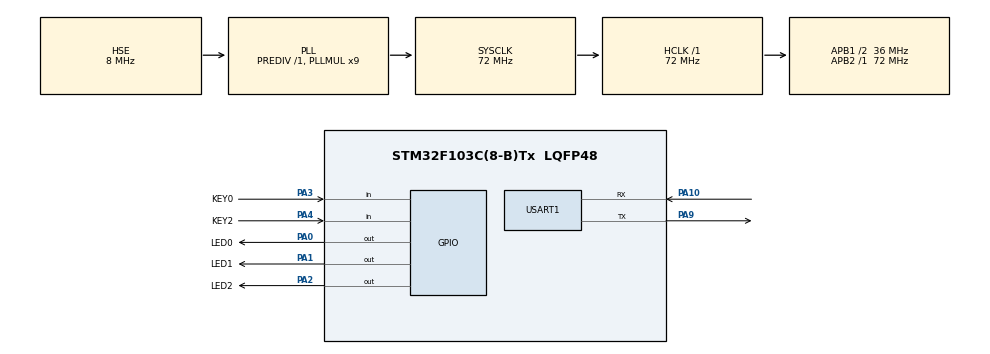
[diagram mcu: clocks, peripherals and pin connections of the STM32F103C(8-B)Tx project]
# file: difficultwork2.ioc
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Mcu.Family=STM32F1
Mcu.Name=STM32F103C(8-B)Tx
Mcu.Package=LQFP48
NVIC.PriorityGroup=NVIC_PRIORITYGROUP_4
NVIC.USART1_IRQn=true\:0\:0\:false\:false\:true\:true\:true\:true
PA0-WKUP.GPIO_Label=LED0
PA0-WKUP.Signal=GPIO_Output
PA1.GPIO_Label=LED1
PA1.Signal=GPIO_Output
PA10.Mode=Asynchronous
PA10.Signal=USART1_RX
PA13.Mode=Serial_Wire
PA13.Signal=SYS_JTMS-SWDIO
PA14.Mode=Serial_Wire
PA14.Signal=SYS_JTCK-SWCLK
PA2.GPIO_Label=LED2
PA2.Signal=GPIO_Output
PA3.GPIO_Label=KEY0
PA3.GPIO_PuPd=GPIO_PULLUP
PA3.Signal=GPIO_Input
PA4.GPIO_Label=KEY2
PA4.GPIO_PuPd=GPIO_PULLUP
PA4.Signal=GPIO_Input
PA9.Mode=Asynchronous
PA9.Signal=USART1_TX
PD0-OSC_IN.Mode=HSE-External-Oscillator
PD0-OSC_IN.Signal=RCC_OSC_IN
PD1-OSC_OUT.Mode=HSE-External-Oscillator
PD1-OSC_OUT.Signal=RCC_OSC_OUT
ProjectManager.HeapSize=0x200
ProjectManager.StackSize=0x400
ProjectManager.TargetToolchain=STM32CubeIDE
RCC.AHBFreq_Value=72000000
RCC.APB1CLKDivider=RCC_HCLK_DIV2
RCC.APB1Freq_Value=36000000
RCC.APB1TimFreq_Value=72000000
RCC.APB2Freq_Value=72000000
RCC.APB2TimFreq_Value=72000000
RCC.HCLKFreq_Value=72000000
RCC.PLLMUL=RCC_PLL_MUL9
RCC.PLLSourceVirtual=RCC_PLLSOURCE_HSE
RCC.SYSCLKFreq_VALUE=72000000
RCC.SYSCLKSource=RCC_SYSCLKSOURCE_PLLCLK
RCC.USBFreq_Value=72000000
USART1.VirtualMode=VM_ASYNC
board=custom

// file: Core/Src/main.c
/* USER CODE BEGIN Header */
/**
  ******************************************************************************
  * @file           : main.c
  * @brief          : Main program body
  ******************************************************************************
  * @attention
  *
  * Copyright (c) 2026 STMicroelectronics.
  * All rights reserved.
  *
  * This software is licensed under terms that can be found in the LICENSE file
  * in the root directory of this software component.
  * If no LICENSE file comes with this software, it is provided AS-IS.
  *
  ******************************************************************************
  */
/* USER CODE END Header */
#include "main.h"
#include "usart.h"
#include "gpio.h"

/* USER CODE BEGIN Includes */
#include "OLED.h"
#include <stdio.h>
#include <string.h>
#include <stdlib.h>
/* USER CODE END Includes */

/* USER CODE BEGIN PV */
uint8_t rx_data;
uint8_t rx_buf[6];
uint8_t rx_cnt = 0;

uint8_t run_flag = 1;
uint8_t dir_flag = 0;
uint16_t step_ms = 500;
uint8_t current_led = 0;

uint32_t last_led_time = 0;
uint32_t last_oled_time = 0;
uint32_t key0_time = 0, KEY2_time = 0;
uint8_t key0_lock = 0, KEY2_lock = 0;
/* USER CODE END PV */

void SystemClock_Config(void);

/* USER CODE BEGIN 0 */
void Send_State_Feedback(void) {
    char msg[64];
    sprintf(msg, "OK: RUN=%d, DIR=%d, STEP=%d, LED=%d\r\n", run_flag, dir_flag, step_ms, current_led);
    HAL_UART_Transmit(&huart1, (uint8_t*)msg, strlen(msg), 100);
}
/* USER CODE END 0 */

int main(void) {

    /* MCU Configuration--------------------------------------------------------*/

    /* Reset of all peripherals, Initializes the Flash interface and the Systick. */
    HAL_Init();

    /* Configure the system clock */
    SystemClock_Config();

    /* Initialize all configured peripherals */
    MX_GPIO_Init();
    MX_USART1_UART_Init();
    /* USER CODE BEGIN 2 */
    HAL_UART_Receive_IT(&huart1, &rx_data, 1); // 开启串口接收中断
    HAL_Delay(200);
    OLED_Init(); // 初始化OLED
    OLED_Clear(); // 清屏
    /* USER CODE END 2 */

    /* Infinite loop */
    /* USER CODE BEGIN WHILE */
    while (1)
    {

        if (HAL_GPIO_ReadPin(KEY0_GPIO_Port, KEY0_Pin) == GPIO_PIN_RESET && !key0_lock) {
            if (HAL_GetTick() - key0_time > 20) {
                key0_lock = 1;
                run_flag = !run_flag;
                Send_State_Feedback();
            }
        } else if (HAL_GPIO_ReadPin(KEY0_GPIO_Port, KEY0_Pin) == GPIO_PIN_SET) {
            key0_time = HAL_GetTick();
            key0_lock = 0;
        }

        if (HAL_GPIO_ReadPin(KEY2_GPIO_Port, KEY2_Pin) == GPIO_PIN_RESET && !KEY2_lock) {
            if (HAL_GetTick() - KEY2_time > 20) {
                KEY2_lock = 1;
                dir_flag = !dir_flag;
                Send_State_Feedback();
            }
        } else if (HAL_GPIO_ReadPin(KEY2_GPIO_Port, KEY2_Pin) == GPIO_PIN_SET) {
            KEY2_time = HAL_GetTick();
            KEY2_lock = 0;
        }

        if (run_flag) {
            if (HAL_GetTick() - last_led_time >= step_ms) {
                last_led_time = HAL_GetTick();
                if (dir_flag == 0) {
                    current_led = (current_led + 1) % 3;
                } else {
                    current_led = (current_led == 0) ? 2 : current_led - 1;
                }
            }
        }

        HAL_GPIO_WritePin(GPIOA, LED0_Pin|LED1_Pin|LED2_Pin, GPIO_PIN_RESET);
        if (run_flag) {
            if (current_led == 0) HAL_GPIO_WritePin(GPIOA, LED0_Pin, GPIO_PIN_SET);
            if (current_led == 1) HAL_GPIO_WritePin(GPIOA, LED1_Pin, GPIO_PIN_SET);
            if (current_led == 2) HAL_GPIO_WritePin(GPIOA, LED2_Pin, GPIO_PIN_SET);
        }

        if (HAL_GetTick() - last_oled_time >= 100) {
            last_oled_time = HAL_GetTick();
            char str_buf[30];
            OLED_Clear();
            sprintf(str_buf, "RUN: %s ", run_flag ? "YES" : "NO ");
            OLED_ShowString(1, 1, str_buf);
            sprintf(str_buf, "DIR: %s ", dir_flag ? "BWD" : "FWD");
            OLED_ShowString(2, 1, str_buf);
            sprintf(str_buf, "STEP: %d ms ", step_ms);
            OLED_ShowString(3, 1, str_buf);
            sprintf(str_buf, "LED: %d   ", current_led);
            OLED_ShowString(4, 1, str_buf);
        }
        /* USER CODE END WHILE */

    }
}

void SystemClock_Config(void)
{
  RCC_OscInitTypeDef RCC_OscInitStruct = {0};
  RCC_ClkInitTypeDef RCC_ClkInitStruct = {0};

  /** Initializes the RCC Oscillators according to the specified parameters
  * in the RCC_OscInitTypeDef structure.
  */
  RCC_OscInitStruct.OscillatorType = RCC_OSCILLATORTYPE_HSE;
  RCC_OscInitStruct.HSEState = RCC_HSE_ON;
  RCC_OscInitStruct.HSEPredivValue = RCC_HSE_PREDIV_DIV1;
  RCC_OscInitStruct.HSIState = RCC_HSI_ON;
  RCC_OscInitStruct.PLL.PLLState = RCC_PLL_ON;
  RCC_OscInitStruct.PLL.PLLSource = RCC_PLLSOURCE_HSE;
  RCC_OscInitStruct.PLL.PLLMUL = RCC_PLL_MUL9;
  if (HAL_RCC_OscConfig(&RCC_OscInitStruct) != HAL_OK)
  {
    Error_Handler();
  }

  /** Initializes the CPU, AHB and APB buses clocks
  */
  RCC_ClkInitStruct.ClockType = RCC_CLOCKTYPE_HCLK|RCC_CLOCKTYPE_SYSCLK
                              |RCC_CLOCKTYPE_PCLK1|RCC_CLOCKTYPE_PCLK2;
  RCC_ClkInitStruct.SYSCLKSource = RCC_SYSCLKSOURCE_PLLCLK;
  RCC_ClkInitStruct.AHBCLKDivider = RCC_SYSCLK_DIV1;
  RCC_ClkInitStruct.APB1CLKDivider = RCC_HCLK_DIV2;
  RCC_ClkInitStruct.APB2CLKDivider = RCC_HCLK_DIV1;

  if (HAL_RCC_ClockConfig(&RCC_ClkInitStruct, FLASH_LATENCY_2) != HAL_OK)
  {
    Error_Handler();
  }
}

/* USER CODE BEGIN 4 */
void HAL_UART_RxCpltCallback(UART_HandleTypeDef *huart) {
    if (huart->Instance == USART1) {

        if (rx_cnt == 0 && rx_data != 0xAA) {

        } else {
            rx_buf[rx_cnt++] = rx_data;
            if (rx_cnt == 6) {
                rx_cnt = 0;
                uint8_t check_sum = rx_buf[0] + rx_buf[1] + rx_buf[2] + rx_buf[3] + rx_buf[4];
                if (check_sum == rx_buf[5]) {
                    run_flag = rx_buf[1];
                    dir_flag = rx_buf[2];
                    step_ms = (rx_buf[4] << 8) | rx_buf[3];

                    char msg[50];
                    sprintf(msg, "OK: RUN=%d, DIR=%d, STEP=%d\r\n", run_flag, dir_flag, step_ms);
                    HAL_UART_Transmit(&huart1, (uint8_t*)msg, strlen(msg), 100);
                }
            }
        }
        HAL_UART_Receive_IT(&huart1, &rx_data, 1);
    }
}
/* USER CODE END 4 */

void Error_Handler(void)
{
  __disable_irq();
  while (1)
  {
  }
}
